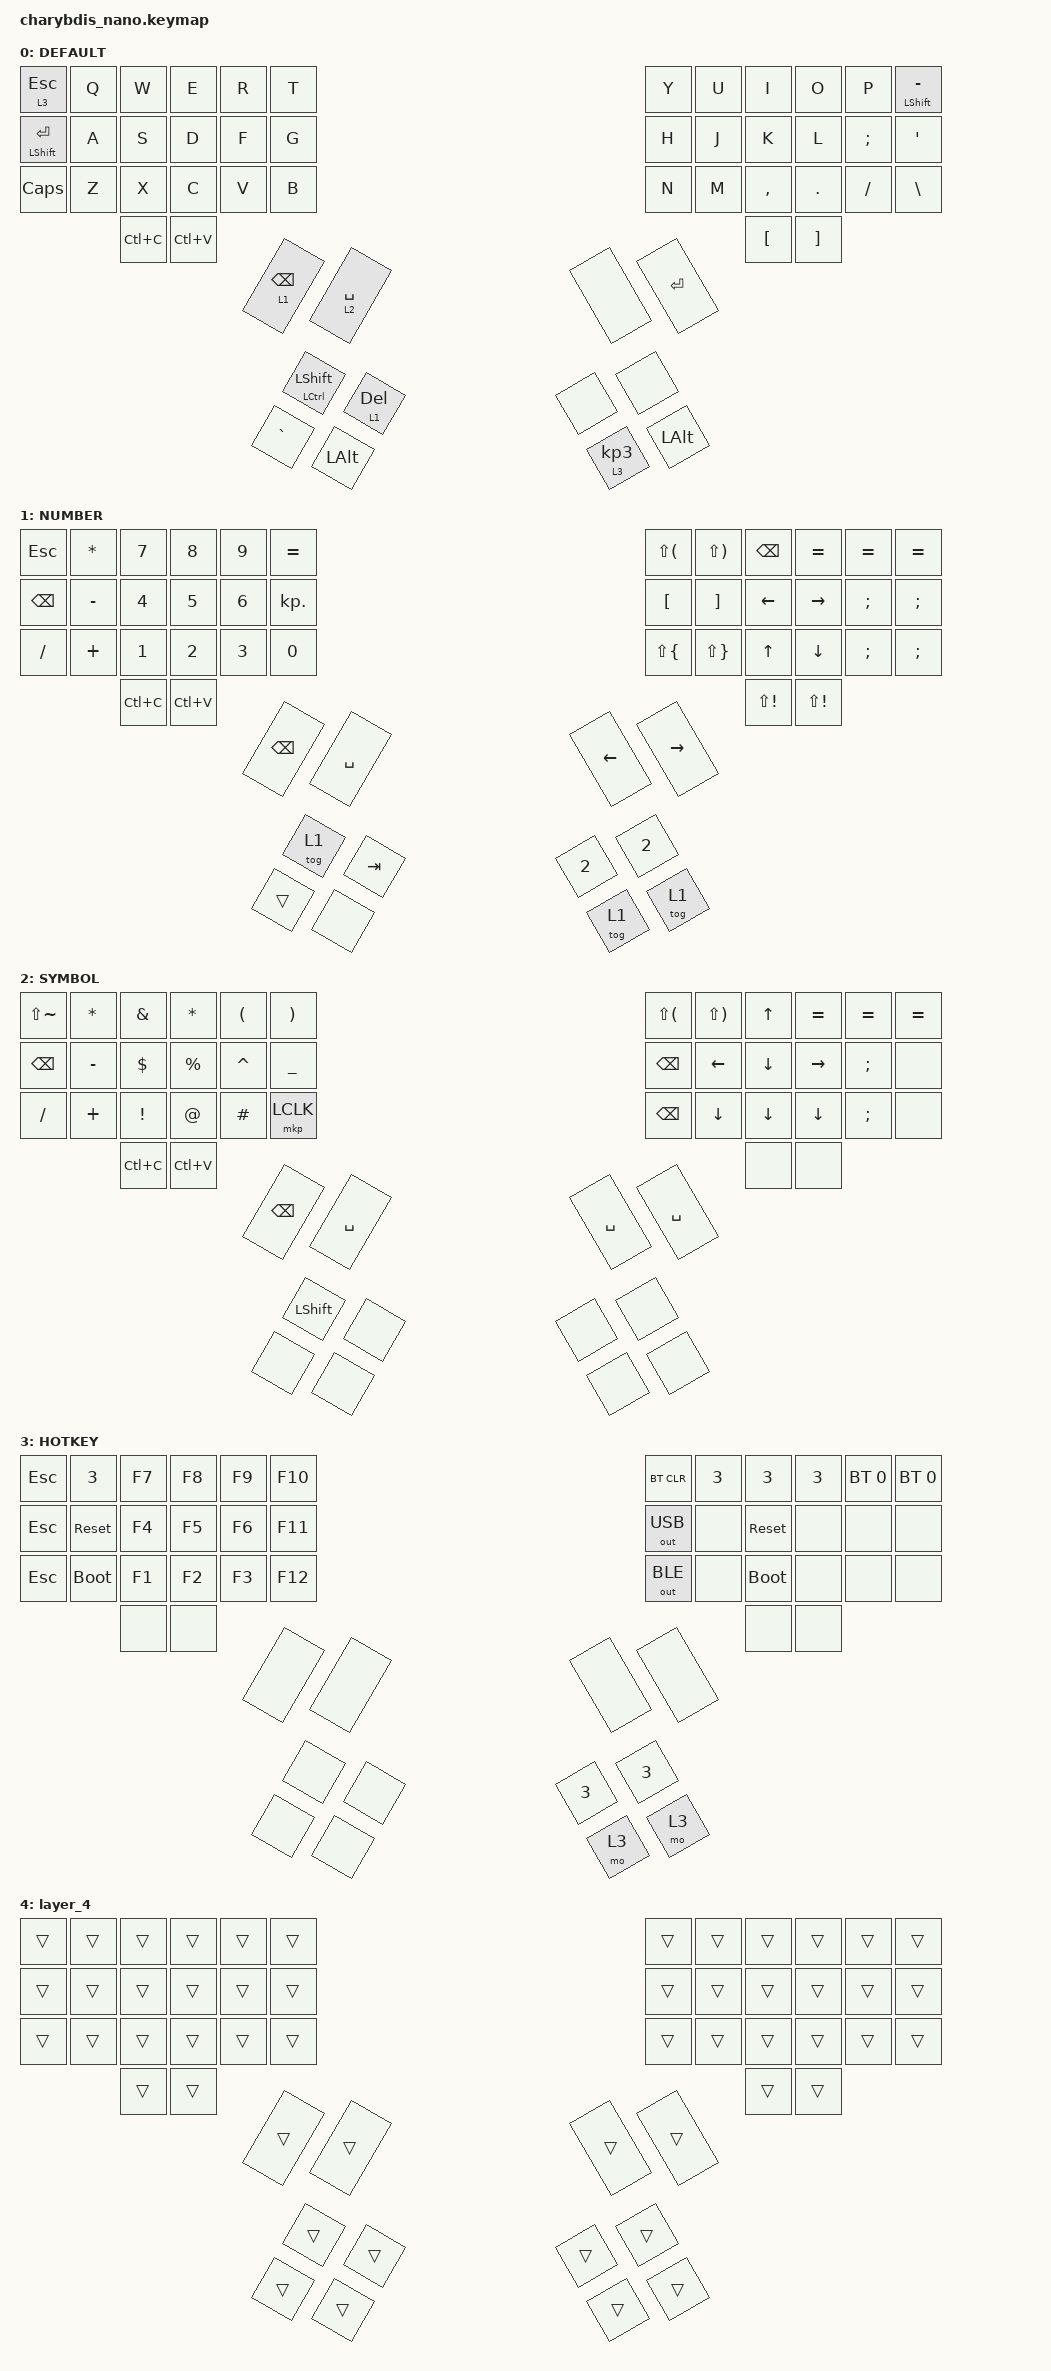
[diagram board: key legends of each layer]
#include <behaviors.dtsi>
#include <dt-bindings/zmk/bt.h>
#include <dt-bindings/zmk/keys.h>
#include <dt-bindings/zmk/outputs.h>
#include <dt-bindings/zmk/pointing.h>

#define DEFAULT 0
#define NUMBER  1
#define SYMBOL  2
#define HOTKEY  3
#define MSE     4

&lt {
    tapping-term-ms = <200>;
    flavor = "balanced";
    quick-tap-ms = <170>;
};

/ {
    behaviors {
        td0: tap_dance_0 {
            compatible = "zmk,behavior-tap-dance";
            label = "TAP_DANCE_0";
            #binding-cells = <0>;
            tapping-term-ms = <200>;
            bindings = <&kp ESC>, <&kp TAB>;
        };
    };

    behaviors {
        as: auto_shift {
            compatible = "zmk,behavior-hold-tap";
            label = "AUTO_SHIFT";
            #binding-cells = <2>;
            tapping-term-ms = <200>;
            quick-tap-ms = <0>;
            flavor = "tap-preferred";
            bindings = <&kp>, <&kp>;
        };

        modcp: mod_copy {
            compatible = "zmk,behavior-mod-morph";
            label = "MOD_COPY";
            #binding-cells = <0>;
            bindings = <&as LS(C) C>, <&kp C>;

            mods = <(LGUI | RGUI)>;
        };

        ltq: ltq {
            compatible = "zmk,behavior-hold-tap";
            label = "LTQ";
            #binding-cells = <2>;
            tapping-term-ms = <200>;
            quick_tap_ms = <0>;
            flavor = "hold-preferred";
            bindings = <&mo>, <&kp>;

            quick-tap-ms = <200>;
            global-quick-tap;
            retro-tap;
        };

        td1: td1 {
            compatible = "zmk,behavior-tap-dance";
            label = "TD1";
            #binding-cells = <0>;
            bindings = <&tog 1>, <&tog 3>;

            tapping-term-ms = <200>;
        };

        td2: td2 {
            compatible = "zmk,behavior-tap-dance";
            label = "TD2";
            #binding-cells = <0>;
            tapping-term-ms = <150>;
            bindings = <&lt 2 SPACE>, <&kp SPACE>;
        };
    };

    macros {
        macro_email_g: macro_email_g {
            // 135115

            compatible = "zmk,behavior-macro";
            label = "MACRO_EMAIL_GMAIL";
            #binding-cells = <0>;
            bindings = <&kp N1 &kp NUMBER_1 &kp N5 &kp N1 &kp N1 &kp N5>;
        };
    };

    combos {
        compatible = "zmk,combos";

        combo_left {
            timeout-ms = <50>;
            key-positions = <2 3>;
            bindings = <&mkp LCLK>;
        };

        combo_LSHFT {
            timeout-ms = <50>;
            key-positions = <15 14>;
            bindings = <&mkp RCLK>;
        };

        combo_LSH {
            timeout-ms = <50>;
            key-positions = <>;
            bindings = <&kp LSHFT>;
        };

        combo_LGUI {
            timeout-ms = <50>;
            key-positions = <26 27>;
            bindings = <&kp LGUI>;
        };

        combo_GU {
            timeout-ms = <50>;
            key-positions = <>;
            bindings = <&tog 1>;
        };
    };

    keymap {
        compatible = "zmk,keymap";

        default_layer {
            label = "DEFAULT";
            bindings = <
&lt 3 ESC             &kp Q  &kp W      &kp E      &kp R            &kp T        &kp Y  &kp U      &kp I              &kp O     &kp P     &mt LEFT_SHIFT MINUS
&mt LEFT_SHIFT ENTER  &kp A  &kp S      &kp D      &kp F            &kp G        &kp H  &kp J      &kp K              &kp L     &kp SEMI  &kp SQT
&kp CAPS              &kp Z  &kp X      &kp C      &kp V            &kp B        &kp N  &kp M      &kp COMMA          &kp DOT   &kp FSLH  &kp BSLH
                             &kp LC(C)  &kp LC(V)  &lt 1 BSPC       &lt 2 SPACE  &none  &kp ENTER  &kp LBKT           &kp RBKT
                             &kp GRAVE  &kp LALT   &mt LCTRL LSHFT  &lt 1 DEL    &none  &none      &lt 3 KP_NUMBER_3  &kp LALT
            >;
        };

        number_layer {
            label = "NUMBER";
            bindings = <
&kp ESC   &kp STAR   &kp N7     &kp N8     &kp N9    &kp EQUAL   &kp LS(LPAR)  &kp LS(RPAR)  &kp BSPC      &kp EQUAL     &kp EQUAL  &kp EQUAL
&kp BSPC  &kp MINUS  &kp N4     &kp N5     &kp N6    &kp KP_DOT  &kp LBKT      &kp RBKT      &kp LEFT      &kp RIGHT     &kp SEMI   &kp SEMI
&kp FSLH  &kp PLUS   &kp N1     &kp N2     &kp N3    &kp N0      &kp LS(LBRC)  &kp LS(RBRC)  &kp UP        &kp DOWN      &kp SEMI   &kp SEMI
                     &kp LC(C)  &kp LC(V)  &kp BSPC  &kp SPACE   &kp LEFT      &kp RIGHT     &kp LS(EXCL)  &kp LS(EXCL)
                     &trans     &none      &tog 1    &kp TAB     &kp N2        &kp N2        &tog 1        &tog 1
            >;
        };

        symbol_layer {
            label = "SYMBOL";
            bindings = <
&kp LS(TILDE)  &kp STAR   &kp AMPS   &kp STAR   &kp LPAR   &kp RPAR   &kp LS(LPAR)  &kp LS(RPAR)  &kp UP    &kp EQUAL  &kp EQUAL  &kp EQUAL
&kp BSPC       &kp MINUS  &kp DLLR   &kp PRCNT  &kp CARET  &kp UNDER  &kp BSPC      &kp LEFT      &kp DOWN  &kp RIGHT  &kp SEMI   &none
&kp FSLH       &kp PLUS   &kp EXCL   &kp AT     &kp HASH   &mkp LCLK  &kp BSPC      &kp DOWN      &kp DOWN  &kp DOWN   &kp SEMI   &none
                          &kp LC(C)  &kp LC(V)  &kp BSPC   &kp SPACE  &kp SPACE     &kp SPACE     &none     &none
                          &none      &none      &kp LSHFT  &none      &none         &none         &none     &none
            >;
        };

        hotkey_layer {
            label = "HOTKEY";
            bindings = <
&kp ESC  &kp N3       &kp F7  &kp F8  &kp F9  &kp F10  &bt BT_CLR    &kp N3        &kp N3       &kp N3  &bt BT_SEL 0  &bt BT_SEL 0
&kp ESC  &sys_reset   &kp F4  &kp F5  &kp F6  &kp F11  &out OUT_USB  &none         &sys_reset   &none   &none         &none
&kp ESC  &bootloader  &kp F1  &kp F2  &kp F3  &kp F12  &out OUT_BLE  &none         &bootloader  &none   &none         &none
                      &none   &none   &none   &none    &none         &none         &none        &none
                      &none   &none   &none   &none    &kp NUMBER_3  &kp NUMBER_3  &mo 3        &mo 3
            >;
        };

        layer_4 {
            bindings = <
&trans  &trans  &trans  &trans  &trans  &trans  &trans  &trans  &trans  &trans  &trans  &trans
&trans  &trans  &trans  &trans  &trans  &trans  &trans  &trans  &trans  &trans  &trans  &trans
&trans  &trans  &trans  &trans  &trans  &trans  &trans  &trans  &trans  &trans  &trans  &trans
                &trans  &trans  &trans  &trans  &trans  &trans  &trans  &trans
                &trans  &trans  &trans  &trans  &trans  &trans  &trans  &trans
            >;
        };
    };
};
